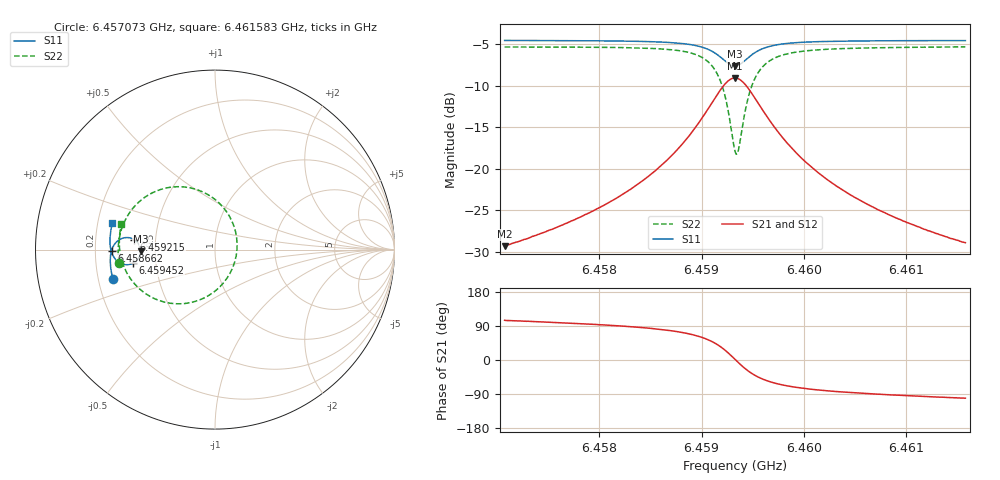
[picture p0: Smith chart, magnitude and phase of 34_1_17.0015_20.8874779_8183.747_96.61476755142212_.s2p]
#  HZ  S  RI  R  50.00
! Rohde & Schwarz Vector Network Analyzer
! Rohde-Schwarz,ZNB20-2Port,1311601062101988,3.16
! Created: UTC 3/20/2024, 10:53:36 PM
! freq[Hz]  re:S11  im:S11  re:S21  im:S21  re:S12  im:S12  re:S22  im:S22
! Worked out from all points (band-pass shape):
!   401 points, 6.457073 GHz to 6.461583 GHz, reference 50 ohm
!   highest |S21| = -9.07 dB at 6.459328 GHz (marker M1); lowest = -29.3 dB at 6.457073 GHz (marker M2)
!   |S21| within 3 dB of the highest: 6.459101 GHz to 6.459552 GHz (451.2 kHz wide, 0.00698 % of centre)
!   lowest |S11| = -7.7 dB at 6.459328 GHz (marker M3), VSWR 2.41, Z = 20.7 - j0.457 ohm
!   |S11| at or under -10 dB: nowhere
!   |S22| runs from -18.3 to -5.3 dB; largest |S21 - S12| = 0.014
!   S11 on the Smith chart (normalised r, x): 6.457073 GHz: 0.26, -0.13; 6.458662 GHz: 0.27, -0.00; 6.459215 GHz: 0.38, +0.05; 6.459452 GHz: 0.37, -0.07; 6.461583 GHz: 0.26, +0.12
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6.4570726e9  -0.5681 -0.1659  -0.00873 0.0331  -0.00692 0.0331  -0.535 -0.0754
6.457828e9  -0.5813 -0.0996  -0.00506 0.0514  -0.00253 0.0508  -0.5387 0.0144
6.4582339e9  -0.5836 -0.0587  0.00079 0.0705  0.00416 0.0691  -0.53 0.0794
6.4585835e9  -0.5793 -0.0163  0.0155 0.1006  0.0195 0.0977  -0.5026 0.1595
6.4586624e9  -0.5764 -0.00525  0.0221 0.1104  0.0262 0.1072  -0.4902 0.1832
6.4588541e9  -0.5627 0.0255  0.0509 0.1425  0.0549 0.1374  -0.4361 0.2538
6.4589894e9  -0.5406 0.0497  0.0949 0.1711  0.0979 0.1643  -0.3549 0.3133
6.4591247e9  -0.4957 0.0668  0.1842 0.187  0.1848 0.1797  -0.192 0.3502
6.4592149e9  -0.4504 0.0558  0.2753 0.154  0.2757 0.1483  -0.0227 0.2961
6.4592825e9  -0.421 0.0226  0.3361 0.0799  0.3385 0.0747  0.0927 0.1619
6.4593276e9  -0.4141 -0.00914  0.3518 0.0105  0.3557 0.00359  0.1232 0.032
6.4593614e9  -0.4185 -0.0334  0.3453 -0.0428  0.3493 -0.052  0.1097 -0.069
6.4594065e9  -0.4347 -0.0599  0.3153 -0.1032  0.3177 -0.1154  0.0491 -0.183
6.4594516e9  -0.4573 -0.0764  0.2722 -0.1443  0.2712 -0.1579  -0.0387 -0.2577
6.4595418e9  -0.5014 -0.0833  0.1857 -0.175  0.1793 -0.1866  -0.2108 -0.3019
6.4596095e9  -0.526 -0.0759  0.1367 -0.1725  0.1285 -0.1815  -0.3052 -0.2855
6.4596884e9  -0.5459 -0.0625  0.0967 -0.16  0.0881 -0.1662  -0.38 -0.2497
6.4598463e9  -0.5677 -0.0349  0.0514 -0.1313  0.0436 -0.134  -0.4605 -0.176
6.4600831e9  -0.5806 0.00065  0.0222 -0.0989  0.0162 -0.0994  -0.5083 -0.0924
6.4603988e9  -0.5852 0.0389  0.00677 -0.073  0.00254 -0.0726  -0.5288 -0.0173
6.4608385e9  -0.5834 0.0835  -0.00176 -0.0527  -0.00458 -0.0519  -0.5334 0.0553
6.4615827e9  -0.5716 0.1498  -0.0067 -0.0353  -0.00847 -0.0342  -0.5219 0.1442
